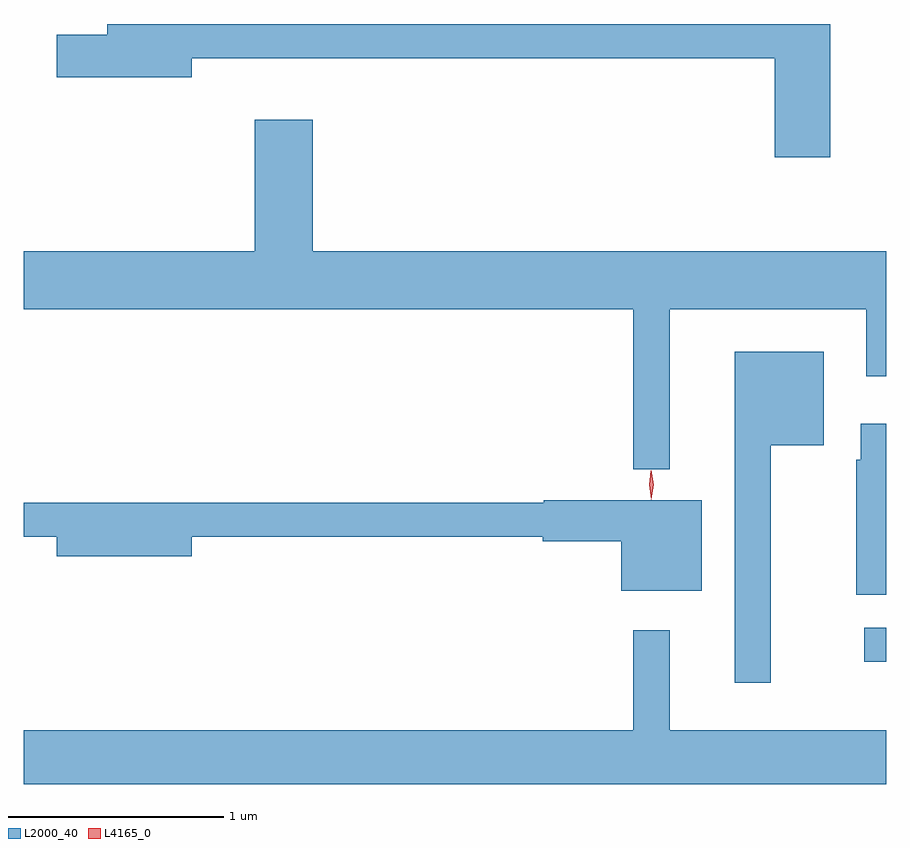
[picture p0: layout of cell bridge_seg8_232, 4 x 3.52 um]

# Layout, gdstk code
import gdstk
lib = gdstk.Library(unit=1e-6, precision=1e-09)
def R(c, l, rs):  # rectangles x0, y0, x1, y1
    for r in rs: c.add(gdstk.rectangle(r[:2], r[2:], *l))
def P(c, l, *ps):  # polygons
    for p in ps: c.add(gdstk.Polygon(p, *l))
L2000_40 = (2000, 40)
L4165_0 = (4165, 0)

bridge_seg8_232 = lib.new_cell('bridge_seg8_232')
R(bridge_seg8_232, L2000_40, [(1196.923,1868.081,1197.024,1868.239)])
P(bridge_seg8_232, L2000_40, [(1196.764,1871.039),(1193.411,1871.039),(1193.411,1870.989),(1193.176,1870.989),(1193.176,1870.791),(1193.804,1870.791),(1193.804,1870.881),(1196.506,1870.881),(1196.506,1870.421),(1196.764,1870.421)],
  [(1196.019,1869.716),(1196.931,1869.716),(1196.931,1869.406),(1197.024,1869.406),(1197.024,1869.984),(1194.364,1869.984),(1194.364,1870.594),(1194.096,1870.594),(1194.096,1869.984),(1193.024,1869.984),(1193.024,1869.716),(1195.851,1869.716),(1195.851,1868.973),(1196.019,1868.973)],
  [(1196.489,1869.086),(1196.734,1869.086),(1196.734,1869.519),(1196.321,1869.519),(1196.321,1867.983),(1196.489,1867.983)],
  [(1197.024,1869.184),(1196.906,1869.184),(1196.906,1869.019),(1196.886,1869.019),(1196.886,1868.391),(1197.024,1868.391)],
  [(1196.169,1868.829),(1195.435,1868.829),(1195.435,1868.819),(1193.024,1868.819),(1193.024,1868.661),(1193.176,1868.661),(1193.176,1868.571),(1193.804,1868.571),(1193.804,1868.661),(1195.431,1868.661),(1195.431,1868.641),(1195.796,1868.641),(1195.796,1868.411),(1196.169,1868.411)],
  [(1197.024,1867.764),(1196.019,1867.764),(1196.019,1868.228),(1195.851,1868.228),(1195.851,1867.764),(1193.024,1867.764),(1193.024,1867.514),(1197.024,1867.514)])
P(bridge_seg8_232, L4165_0, [(1195.935,1868.833),(1195.934,1868.834),(1195.925,1868.902),(1195.934,1868.97),(1195.935,1868.97),(1195.935,1868.97),(1195.945,1868.902),(1195.935,1868.834)],
  [(1195.934,1868.838),(1195.934,1868.839),(1195.924,1868.903),(1195.933,1868.966),(1195.933,1868.967),(1195.934,1868.966),(1195.944,1868.903),(1195.934,1868.839)])

lib.write_gds('bridge_seg8_232.gds')
